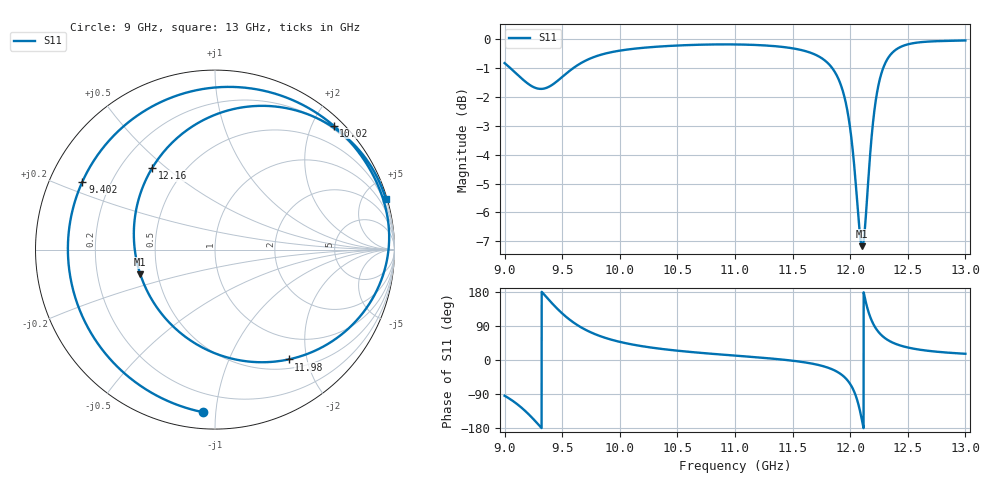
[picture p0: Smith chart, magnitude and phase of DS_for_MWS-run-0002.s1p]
! TOUCHSTONE file generated by CST DESIGN STUDIO
! Date and time: Tue Feb  4 16:28:30 2025
! Project name: C:\Work\MatlabApps\UnitCellOptimizationMatlab\CST\unitcell.cst
! Tree item: Tasks\Sweep1\SPara1\S-Parameters
! Header version: 2024
! Port assignment regex: !\s*Touchstone port\s*([0-9]+)\s*=\s*(CST MWS port|CST DES external port|CST DES block port)\s*(.+)\s* \(\"(.*)\"\)(\s*mode\s*([0-9]+))?.*
! Touchstone port assignment:
! Touchstone port 1 = CST DES external port 1 ("")
# GHz S MA R 50
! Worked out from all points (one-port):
!   4001 points, 9 GHz to 13 GHz, reference 50 ohm
!   lowest |S11| = -7.2 dB at 12.1 GHz (marker M1), VSWR 2.56, Z = 19.9 - j6.75 ohm
!   |S11| at or under -10 dB: nowhere
!   S11 on the Smith chart (normalised r, x): 9 GHz: 0.09, -0.92; 9.402 GHz: 0.10, +0.24; 10.02 GHz: 0.15, +2.33; 11.98 GHz: 0.63, -1.70; 12.16 GHz: 0.33, +0.45; 13 GHz: 0.15, +6.93
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9  0.9082 -94.3
9.095  0.8735 -113.2
9.182  0.843 -135.4
9.298  0.82 -171.8
9.402  0.8302 152.9
9.5  0.8594 122.9
9.58  0.8855 102.9
9.673  0.9106 84.6
9.823  0.9372 63.7
10  0.9543 47.8
10.023  0.9559 46.2
10.5  0.974 24.6
11  0.9782 11.6
11.5  0.9632 -1.9
11.826  0.8994 -22.4
11.915  0.8366 -36.4
11.983  0.7369 -56.1
12  0.6996 -63.4
12.055  0.5403 -100.2
12.104  0.4383 -161.8
12.13  0.4766 160.1
12.158  0.5738 127.6
12.187  0.6811 103.7
12.218  0.7732 85.7
12.306  0.9094 56.8
12.388  0.9552 43.3
12.5  0.9785 33.0
13  0.9938 16.4
